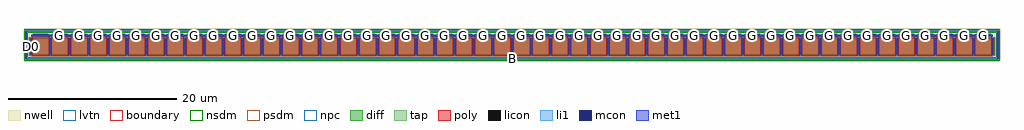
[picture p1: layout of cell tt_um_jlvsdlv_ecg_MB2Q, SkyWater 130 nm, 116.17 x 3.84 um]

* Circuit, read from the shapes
.subckt tt_um_jlvsdlv_ecg_MB2Q B D0 D10 D12 D14 D16 D18 D2 D20 D22 D24 D26 D28 D30 D32 D34 D36 D38 D4 D40 D42 D44 D46 D48 D6 D8 G S1 S11 S13 S15 S17 S19 S21 S23 S25 S27 S29 S3 S31 S33 S35 S37 S39 S41 S43 S45 S47 S49 S5 S7 S9
XM1 S1 G D0 B sky130_fd_pr__pfet_01v8_lvt w=2 l=2
XM2 D2 G S1 B sky130_fd_pr__pfet_01v8_lvt w=2 l=2
XM3 S3 G D2 B sky130_fd_pr__pfet_01v8_lvt w=2 l=2
XM4 D4 G S3 B sky130_fd_pr__pfet_01v8_lvt w=2 l=2
XM5 S5 G D4 B sky130_fd_pr__pfet_01v8_lvt w=2 l=2
XM6 D6 G S5 B sky130_fd_pr__pfet_01v8_lvt w=2 l=2
XM7 S7 G D6 B sky130_fd_pr__pfet_01v8_lvt w=2 l=2
XM8 D8 G S7 B sky130_fd_pr__pfet_01v8_lvt w=2 l=2
XM9 S9 G D8 B sky130_fd_pr__pfet_01v8_lvt w=2 l=2
XM10 D10 G S9 B sky130_fd_pr__pfet_01v8_lvt w=2 l=2
XM11 S11 G D10 B sky130_fd_pr__pfet_01v8_lvt w=2 l=2
XM12 D12 G S11 B sky130_fd_pr__pfet_01v8_lvt w=2 l=2
XM13 S13 G D12 B sky130_fd_pr__pfet_01v8_lvt w=2 l=2
XM14 D14 G S13 B sky130_fd_pr__pfet_01v8_lvt w=2 l=2
XM15 S15 G D14 B sky130_fd_pr__pfet_01v8_lvt w=2 l=2
XM16 D16 G S15 B sky130_fd_pr__pfet_01v8_lvt w=2 l=2
XM17 S17 G D16 B sky130_fd_pr__pfet_01v8_lvt w=2 l=2
XM18 D18 G S17 B sky130_fd_pr__pfet_01v8_lvt w=2 l=2
XM19 S19 G D18 B sky130_fd_pr__pfet_01v8_lvt w=2 l=2
XM20 D20 G S19 B sky130_fd_pr__pfet_01v8_lvt w=2 l=2
XM21 S21 G D20 B sky130_fd_pr__pfet_01v8_lvt w=2 l=2
XM22 D22 G S21 B sky130_fd_pr__pfet_01v8_lvt w=2 l=2
XM23 S23 G D22 B sky130_fd_pr__pfet_01v8_lvt w=2 l=2
XM24 D24 G S23 B sky130_fd_pr__pfet_01v8_lvt w=2 l=2
XM25 S25 G D24 B sky130_fd_pr__pfet_01v8_lvt w=2 l=2
XM26 D26 G S25 B sky130_fd_pr__pfet_01v8_lvt w=2 l=2
XM27 S27 G D26 B sky130_fd_pr__pfet_01v8_lvt w=2 l=2
XM28 D28 G S27 B sky130_fd_pr__pfet_01v8_lvt w=2 l=2
XM29 S29 G D28 B sky130_fd_pr__pfet_01v8_lvt w=2 l=2
XM30 D30 G S29 B sky130_fd_pr__pfet_01v8_lvt w=2 l=2
XM31 S31 G D30 B sky130_fd_pr__pfet_01v8_lvt w=2 l=2
XM32 D32 G S31 B sky130_fd_pr__pfet_01v8_lvt w=2 l=2
XM33 S33 G D32 B sky130_fd_pr__pfet_01v8_lvt w=2 l=2
XM34 D34 G S33 B sky130_fd_pr__pfet_01v8_lvt w=2 l=2
XM35 S35 G D34 B sky130_fd_pr__pfet_01v8_lvt w=2 l=2
XM36 D36 G S35 B sky130_fd_pr__pfet_01v8_lvt w=2 l=2
XM37 S37 G D36 B sky130_fd_pr__pfet_01v8_lvt w=2 l=2
XM38 D38 G S37 B sky130_fd_pr__pfet_01v8_lvt w=2 l=2
XM39 S39 G D38 B sky130_fd_pr__pfet_01v8_lvt w=2 l=2
XM40 D40 G S39 B sky130_fd_pr__pfet_01v8_lvt w=2 l=2
XM41 S41 G D40 B sky130_fd_pr__pfet_01v8_lvt w=2 l=2
XM42 D42 G S41 B sky130_fd_pr__pfet_01v8_lvt w=2 l=2
XM43 S43 G D42 B sky130_fd_pr__pfet_01v8_lvt w=2 l=2
XM44 D44 G S43 B sky130_fd_pr__pfet_01v8_lvt w=2 l=2
XM45 S45 G D44 B sky130_fd_pr__pfet_01v8_lvt w=2 l=2
XM46 D46 G S45 B sky130_fd_pr__pfet_01v8_lvt w=2 l=2
XM47 S47 G D46 B sky130_fd_pr__pfet_01v8_lvt w=2 l=2
XM48 D48 G S47 B sky130_fd_pr__pfet_01v8_lvt w=2 l=2
XM49 S49 G D48 B sky130_fd_pr__pfet_01v8_lvt w=2 l=2
XM50 n1 G S49 B sky130_fd_pr__pfet_01v8_lvt w=2 l=2
.ends

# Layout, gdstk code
import gdstk
lib = gdstk.Library(unit=1e-6, precision=1e-09)
def R(c, l, rs):  # rectangles x0, y0, x1, y1
    for r in rs: c.add(gdstk.rectangle(r[:2], r[2:], *l))
def A(c, l, x, y, w, h, nx, ny, dx, dy):  # array of equal rectangles
    R(c, l, [(x+i*dx, y+j*dy, x+i*dx+w, y+j*dy+h) for i in range(nx) for j in range(ny)])
nwell = (64, 20)
diff = (65, 20)
tap = (65, 44)
poly = (66, 20)
licon = (66, 44)
li1 = (67, 20)
mcon = (67, 44)
met1 = (68, 20)
nsdm = (93, 44)
psdm = (94, 20)
npc = (95, 20)
lvtn = (125, 44)
boundary = (235, 4)

tt_um_jlvsdlv_ecg_mb2q = lib.new_cell('tt_um_jlvsdlv_ecg_MB2Q')
R(tt_um_jlvsdlv_ecg_mb2q, nwell, [(-58.085,-1.92,58.085,1.92)])
R(tt_um_jlvsdlv_ecg_mb2q, diff, [(-57.395,-1.18,57.395,0.82)])
R(tt_um_jlvsdlv_ecg_mb2q, tap, [(-57.905,-1.74,57.905,-1.57), (-57.905,-1.57,-57.735,1.57), (57.735,-1.57,57.905,1.57), (-57.905,1.57,57.905,1.74)])
A(tt_um_jlvsdlv_ecg_mb2q, poly, -57.105, -1.31, 2, 2.615, 50, 1, 2.29, 0)
A(tt_um_jlvsdlv_ecg_mb2q, licon, -57.375, -1.74, 0.17, 0.17, 338, 2, 0.34, 3.31)
A(tt_um_jlvsdlv_ecg_mb2q, licon, -57.335, -1.115, 0.17, 0.17, 51, 6, 2.29, 0.34)
A(tt_um_jlvsdlv_ecg_mb2q, licon, -57.905, -1.105, 0.17, 0.17, 1, 7, 0, 0.34)
A(tt_um_jlvsdlv_ecg_mb2q, licon, 57.735, -1.105, 0.17, 0.17, 1, 7, 0, 0.34)
A(tt_um_jlvsdlv_ecg_mb2q, licon, -56.87, 1.055, 0.17, 0.17, 5, 1, 0.34, 0)
A(tt_um_jlvsdlv_ecg_mb2q, licon, -54.58, 1.055, 0.17, 0.17, 5, 1, 0.34, 0)
A(tt_um_jlvsdlv_ecg_mb2q, licon, -52.29, 1.055, 0.17, 0.17, 5, 1, 0.34, 0)
A(tt_um_jlvsdlv_ecg_mb2q, licon, -50, 1.055, 0.17, 0.17, 5, 1, 0.34, 0)
A(tt_um_jlvsdlv_ecg_mb2q, licon, -47.71, 1.055, 0.17, 0.17, 5, 1, 0.34, 0)
A(tt_um_jlvsdlv_ecg_mb2q, licon, -45.42, 1.055, 0.17, 0.17, 5, 1, 0.34, 0)
A(tt_um_jlvsdlv_ecg_mb2q, licon, -43.13, 1.055, 0.17, 0.17, 5, 1, 0.34, 0)
A(tt_um_jlvsdlv_ecg_mb2q, licon, -40.84, 1.055, 0.17, 0.17, 5, 1, 0.34, 0)
A(tt_um_jlvsdlv_ecg_mb2q, licon, -38.55, 1.055, 0.17, 0.17, 5, 1, 0.34, 0)
A(tt_um_jlvsdlv_ecg_mb2q, licon, -36.26, 1.055, 0.17, 0.17, 5, 1, 0.34, 0)
A(tt_um_jlvsdlv_ecg_mb2q, licon, -33.97, 1.055, 0.17, 0.17, 5, 1, 0.34, 0)
A(tt_um_jlvsdlv_ecg_mb2q, licon, -31.68, 1.055, 0.17, 0.17, 5, 1, 0.34, 0)
A(tt_um_jlvsdlv_ecg_mb2q, licon, -29.39, 1.055, 0.17, 0.17, 5, 1, 0.34, 0)
A(tt_um_jlvsdlv_ecg_mb2q, licon, -27.1, 1.055, 0.17, 0.17, 5, 1, 0.34, 0)
A(tt_um_jlvsdlv_ecg_mb2q, licon, -24.81, 1.055, 0.17, 0.17, 5, 1, 0.34, 0)
A(tt_um_jlvsdlv_ecg_mb2q, licon, -22.52, 1.055, 0.17, 0.17, 5, 1, 0.34, 0)
A(tt_um_jlvsdlv_ecg_mb2q, licon, -20.23, 1.055, 0.17, 0.17, 5, 1, 0.34, 0)
A(tt_um_jlvsdlv_ecg_mb2q, licon, -17.94, 1.055, 0.17, 0.17, 5, 1, 0.34, 0)
A(tt_um_jlvsdlv_ecg_mb2q, licon, -15.65, 1.055, 0.17, 0.17, 5, 1, 0.34, 0)
A(tt_um_jlvsdlv_ecg_mb2q, licon, -13.36, 1.055, 0.17, 0.17, 5, 1, 0.34, 0)
A(tt_um_jlvsdlv_ecg_mb2q, licon, -11.07, 1.055, 0.17, 0.17, 5, 1, 0.34, 0)
A(tt_um_jlvsdlv_ecg_mb2q, licon, -8.78, 1.055, 0.17, 0.17, 5, 1, 0.34, 0)
A(tt_um_jlvsdlv_ecg_mb2q, licon, -6.49, 1.055, 0.17, 0.17, 5, 1, 0.34, 0)
A(tt_um_jlvsdlv_ecg_mb2q, licon, -4.2, 1.055, 0.17, 0.17, 5, 1, 0.34, 0)
A(tt_um_jlvsdlv_ecg_mb2q, licon, -1.91, 1.055, 0.17, 0.17, 5, 1, 0.34, 0)
A(tt_um_jlvsdlv_ecg_mb2q, licon, 0.38, 1.055, 0.17, 0.17, 5, 1, 0.34, 0)
A(tt_um_jlvsdlv_ecg_mb2q, licon, 2.67, 1.055, 0.17, 0.17, 5, 1, 0.34, 0)
A(tt_um_jlvsdlv_ecg_mb2q, licon, 4.96, 1.055, 0.17, 0.17, 5, 1, 0.34, 0)
A(tt_um_jlvsdlv_ecg_mb2q, licon, 7.25, 1.055, 0.17, 0.17, 5, 1, 0.34, 0)
A(tt_um_jlvsdlv_ecg_mb2q, licon, 9.54, 1.055, 0.17, 0.17, 5, 1, 0.34, 0)
A(tt_um_jlvsdlv_ecg_mb2q, licon, 11.83, 1.055, 0.17, 0.17, 5, 1, 0.34, 0)
A(tt_um_jlvsdlv_ecg_mb2q, licon, 14.12, 1.055, 0.17, 0.17, 5, 1, 0.34, 0)
A(tt_um_jlvsdlv_ecg_mb2q, licon, 16.41, 1.055, 0.17, 0.17, 5, 1, 0.34, 0)
A(tt_um_jlvsdlv_ecg_mb2q, licon, 18.7, 1.055, 0.17, 0.17, 5, 1, 0.34, 0)
A(tt_um_jlvsdlv_ecg_mb2q, licon, 20.99, 1.055, 0.17, 0.17, 5, 1, 0.34, 0)
A(tt_um_jlvsdlv_ecg_mb2q, licon, 23.28, 1.055, 0.17, 0.17, 5, 1, 0.34, 0)
A(tt_um_jlvsdlv_ecg_mb2q, licon, 25.57, 1.055, 0.17, 0.17, 5, 1, 0.34, 0)
A(tt_um_jlvsdlv_ecg_mb2q, licon, 27.86, 1.055, 0.17, 0.17, 5, 1, 0.34, 0)
A(tt_um_jlvsdlv_ecg_mb2q, licon, 30.15, 1.055, 0.17, 0.17, 5, 1, 0.34, 0)
A(tt_um_jlvsdlv_ecg_mb2q, licon, 32.44, 1.055, 0.17, 0.17, 5, 1, 0.34, 0)
A(tt_um_jlvsdlv_ecg_mb2q, licon, 34.73, 1.055, 0.17, 0.17, 5, 1, 0.34, 0)
A(tt_um_jlvsdlv_ecg_mb2q, licon, 37.02, 1.055, 0.17, 0.17, 5, 1, 0.34, 0)
A(tt_um_jlvsdlv_ecg_mb2q, licon, 39.31, 1.055, 0.17, 0.17, 5, 1, 0.34, 0)
A(tt_um_jlvsdlv_ecg_mb2q, licon, 41.6, 1.055, 0.17, 0.17, 5, 1, 0.34, 0)
A(tt_um_jlvsdlv_ecg_mb2q, licon, 43.89, 1.055, 0.17, 0.17, 5, 1, 0.34, 0)
A(tt_um_jlvsdlv_ecg_mb2q, licon, 46.18, 1.055, 0.17, 0.17, 5, 1, 0.34, 0)
A(tt_um_jlvsdlv_ecg_mb2q, licon, 48.47, 1.055, 0.17, 0.17, 5, 1, 0.34, 0)
A(tt_um_jlvsdlv_ecg_mb2q, licon, 50.76, 1.055, 0.17, 0.17, 5, 1, 0.34, 0)
A(tt_um_jlvsdlv_ecg_mb2q, licon, 53.05, 1.055, 0.17, 0.17, 5, 1, 0.34, 0)
A(tt_um_jlvsdlv_ecg_mb2q, licon, 55.34, 1.055, 0.17, 0.17, 5, 1, 0.34, 0)
A(tt_um_jlvsdlv_ecg_mb2q, li1, -57.335, -1.2, 0.17, 2.04, 51, 1, 2.29, 0)
R(tt_um_jlvsdlv_ecg_mb2q, li1, [(-57.905,-1.74,57.905,-1.57), (-57.905,-1.57,-57.735,1.57), (57.735,-1.57,57.905,1.57), (-57.25,1.055,57.25,1.225), (-57.905,1.57,57.905,1.74)])
A(tt_um_jlvsdlv_ecg_mb2q, mcon, -57.905, -1.525, 0.17, 0.17, 1, 9, 0, 0.36)
A(tt_um_jlvsdlv_ecg_mb2q, mcon, 57.735, -1.525, 0.17, 0.17, 1, 9, 0, 0.36)
A(tt_um_jlvsdlv_ecg_mb2q, mcon, -57.335, -0.985, 0.17, 0.17, 51, 5, 2.29, 0.36)
A(tt_um_jlvsdlv_ecg_mb2q, mcon, -56.91, 1.055, 0.17, 0.17, 5, 1, 0.36, 0)
A(tt_um_jlvsdlv_ecg_mb2q, mcon, -54.62, 1.055, 0.17, 0.17, 5, 1, 0.36, 0)
A(tt_um_jlvsdlv_ecg_mb2q, mcon, -52.33, 1.055, 0.17, 0.17, 5, 1, 0.36, 0)
A(tt_um_jlvsdlv_ecg_mb2q, mcon, -50.04, 1.055, 0.17, 0.17, 5, 1, 0.36, 0)
A(tt_um_jlvsdlv_ecg_mb2q, mcon, -47.75, 1.055, 0.17, 0.17, 5, 1, 0.36, 0)
A(tt_um_jlvsdlv_ecg_mb2q, mcon, -45.46, 1.055, 0.17, 0.17, 5, 1, 0.36, 0)
A(tt_um_jlvsdlv_ecg_mb2q, mcon, -43.17, 1.055, 0.17, 0.17, 5, 1, 0.36, 0)
A(tt_um_jlvsdlv_ecg_mb2q, mcon, -40.88, 1.055, 0.17, 0.17, 5, 1, 0.36, 0)
A(tt_um_jlvsdlv_ecg_mb2q, mcon, -38.59, 1.055, 0.17, 0.17, 5, 1, 0.36, 0)
A(tt_um_jlvsdlv_ecg_mb2q, mcon, -36.3, 1.055, 0.17, 0.17, 5, 1, 0.36, 0)
A(tt_um_jlvsdlv_ecg_mb2q, mcon, -34.01, 1.055, 0.17, 0.17, 5, 1, 0.36, 0)
A(tt_um_jlvsdlv_ecg_mb2q, mcon, -31.72, 1.055, 0.17, 0.17, 5, 1, 0.36, 0)
A(tt_um_jlvsdlv_ecg_mb2q, mcon, -29.43, 1.055, 0.17, 0.17, 5, 1, 0.36, 0)
A(tt_um_jlvsdlv_ecg_mb2q, mcon, -27.14, 1.055, 0.17, 0.17, 5, 1, 0.36, 0)
A(tt_um_jlvsdlv_ecg_mb2q, mcon, -24.85, 1.055, 0.17, 0.17, 5, 1, 0.36, 0)
A(tt_um_jlvsdlv_ecg_mb2q, mcon, -22.56, 1.055, 0.17, 0.17, 5, 1, 0.36, 0)
A(tt_um_jlvsdlv_ecg_mb2q, mcon, -20.27, 1.055, 0.17, 0.17, 5, 1, 0.36, 0)
A(tt_um_jlvsdlv_ecg_mb2q, mcon, -17.98, 1.055, 0.17, 0.17, 5, 1, 0.36, 0)
A(tt_um_jlvsdlv_ecg_mb2q, mcon, -15.69, 1.055, 0.17, 0.17, 5, 1, 0.36, 0)
A(tt_um_jlvsdlv_ecg_mb2q, mcon, -13.4, 1.055, 0.17, 0.17, 5, 1, 0.36, 0)
A(tt_um_jlvsdlv_ecg_mb2q, mcon, -11.11, 1.055, 0.17, 0.17, 5, 1, 0.36, 0)
A(tt_um_jlvsdlv_ecg_mb2q, mcon, -8.82, 1.055, 0.17, 0.17, 5, 1, 0.36, 0)
A(tt_um_jlvsdlv_ecg_mb2q, mcon, -6.53, 1.055, 0.17, 0.17, 5, 1, 0.36, 0)
A(tt_um_jlvsdlv_ecg_mb2q, mcon, -4.24, 1.055, 0.17, 0.17, 5, 1, 0.36, 0)
A(tt_um_jlvsdlv_ecg_mb2q, mcon, -1.95, 1.055, 0.17, 0.17, 5, 1, 0.36, 0)
A(tt_um_jlvsdlv_ecg_mb2q, mcon, 0.34, 1.055, 0.17, 0.17, 5, 1, 0.36, 0)
A(tt_um_jlvsdlv_ecg_mb2q, mcon, 2.63, 1.055, 0.17, 0.17, 5, 1, 0.36, 0)
A(tt_um_jlvsdlv_ecg_mb2q, mcon, 4.92, 1.055, 0.17, 0.17, 5, 1, 0.36, 0)
A(tt_um_jlvsdlv_ecg_mb2q, mcon, 7.21, 1.055, 0.17, 0.17, 5, 1, 0.36, 0)
A(tt_um_jlvsdlv_ecg_mb2q, mcon, 9.5, 1.055, 0.17, 0.17, 5, 1, 0.36, 0)
A(tt_um_jlvsdlv_ecg_mb2q, mcon, 11.79, 1.055, 0.17, 0.17, 5, 1, 0.36, 0)
A(tt_um_jlvsdlv_ecg_mb2q, mcon, 14.08, 1.055, 0.17, 0.17, 5, 1, 0.36, 0)
A(tt_um_jlvsdlv_ecg_mb2q, mcon, 16.37, 1.055, 0.17, 0.17, 5, 1, 0.36, 0)
A(tt_um_jlvsdlv_ecg_mb2q, mcon, 18.66, 1.055, 0.17, 0.17, 5, 1, 0.36, 0)
A(tt_um_jlvsdlv_ecg_mb2q, mcon, 20.95, 1.055, 0.17, 0.17, 5, 1, 0.36, 0)
A(tt_um_jlvsdlv_ecg_mb2q, mcon, 23.24, 1.055, 0.17, 0.17, 5, 1, 0.36, 0)
A(tt_um_jlvsdlv_ecg_mb2q, mcon, 25.53, 1.055, 0.17, 0.17, 5, 1, 0.36, 0)
A(tt_um_jlvsdlv_ecg_mb2q, mcon, 27.82, 1.055, 0.17, 0.17, 5, 1, 0.36, 0)
A(tt_um_jlvsdlv_ecg_mb2q, mcon, 30.11, 1.055, 0.17, 0.17, 5, 1, 0.36, 0)
A(tt_um_jlvsdlv_ecg_mb2q, mcon, 32.4, 1.055, 0.17, 0.17, 5, 1, 0.36, 0)
A(tt_um_jlvsdlv_ecg_mb2q, mcon, 34.69, 1.055, 0.17, 0.17, 5, 1, 0.36, 0)
A(tt_um_jlvsdlv_ecg_mb2q, mcon, 36.98, 1.055, 0.17, 0.17, 5, 1, 0.36, 0)
A(tt_um_jlvsdlv_ecg_mb2q, mcon, 39.27, 1.055, 0.17, 0.17, 5, 1, 0.36, 0)
A(tt_um_jlvsdlv_ecg_mb2q, mcon, 41.56, 1.055, 0.17, 0.17, 5, 1, 0.36, 0)
A(tt_um_jlvsdlv_ecg_mb2q, mcon, 43.85, 1.055, 0.17, 0.17, 5, 1, 0.36, 0)
A(tt_um_jlvsdlv_ecg_mb2q, mcon, 46.14, 1.055, 0.17, 0.17, 5, 1, 0.36, 0)
A(tt_um_jlvsdlv_ecg_mb2q, mcon, 48.43, 1.055, 0.17, 0.17, 5, 1, 0.36, 0)
A(tt_um_jlvsdlv_ecg_mb2q, mcon, 50.72, 1.055, 0.17, 0.17, 5, 1, 0.36, 0)
A(tt_um_jlvsdlv_ecg_mb2q, mcon, 53.01, 1.055, 0.17, 0.17, 5, 1, 0.36, 0)
A(tt_um_jlvsdlv_ecg_mb2q, mcon, 55.3, 1.055, 0.17, 0.17, 5, 1, 0.36, 0)
A(tt_um_jlvsdlv_ecg_mb2q, met1, -57.365, -1.18, 0.23, 2, 51, 1, 2.29, 0)
A(tt_um_jlvsdlv_ecg_mb2q, met1, -57.085, 1.025, 1.96, 0.03, 50, 2, 2.29, 0.2)
R(tt_um_jlvsdlv_ecg_mb2q, met1, [(-57.935,-1.63,-57.705,1.63), (57.705,-1.63,57.935,1.63), (-57.25,1.055,57.25,1.225)])
R(tt_um_jlvsdlv_ecg_mb2q, nsdm, [(-58.03,-1.865,58.03,-1.445), (-58.03,-1.445,-57.61,1.445), (57.61,-1.445,58.03,1.445), (-58.03,1.445,58.03,1.865)])
R(tt_um_jlvsdlv_ecg_mb2q, psdm, [(-57.52,-1.305,57.52,0.945)])
A(tt_um_jlvsdlv_ecg_mb2q, npc, -56.97, 0.955, 1.73, 0.37, 50, 1, 2.29, 0)
R(tt_um_jlvsdlv_ecg_mb2q, lvtn, [(-57.285,-1.36,57.285,1)])
R(tt_um_jlvsdlv_ecg_mb2q, boundary, [(-57.82,-1.655,57.82,1.655)])
tt_um_jlvsdlv_ecg_mb2q.add(gdstk.Label('B', (0,-1.655), layer=67, texttype=5))
tt_um_jlvsdlv_ecg_mb2q.add(gdstk.Label('D0', (-57.25,-0.18), layer=67, texttype=5))
tt_um_jlvsdlv_ecg_mb2q.add(gdstk.Label('G', (56.105,1.14), layer=67, texttype=5))
tt_um_jlvsdlv_ecg_mb2q.add(gdstk.Label('G', (53.815,1.14), layer=67, texttype=5))
tt_um_jlvsdlv_ecg_mb2q.add(gdstk.Label('G', (51.525,1.14), layer=67, texttype=5))
tt_um_jlvsdlv_ecg_mb2q.add(gdstk.Label('G', (49.235,1.14), layer=67, texttype=5))
tt_um_jlvsdlv_ecg_mb2q.add(gdstk.Label('G', (46.945,1.14), layer=67, texttype=5))
tt_um_jlvsdlv_ecg_mb2q.add(gdstk.Label('G', (44.655,1.14), layer=67, texttype=5))
tt_um_jlvsdlv_ecg_mb2q.add(gdstk.Label('G', (42.365,1.14), layer=67, texttype=5))
tt_um_jlvsdlv_ecg_mb2q.add(gdstk.Label('G', (40.075,1.14), layer=67, texttype=5))
tt_um_jlvsdlv_ecg_mb2q.add(gdstk.Label('G', (37.785,1.14), layer=67, texttype=5))
tt_um_jlvsdlv_ecg_mb2q.add(gdstk.Label('G', (35.495,1.14), layer=67, texttype=5))
tt_um_jlvsdlv_ecg_mb2q.add(gdstk.Label('G', (33.205,1.14), layer=67, texttype=5))
tt_um_jlvsdlv_ecg_mb2q.add(gdstk.Label('G', (30.915,1.14), layer=67, texttype=5))
tt_um_jlvsdlv_ecg_mb2q.add(gdstk.Label('G', (28.625,1.14), layer=67, texttype=5))
tt_um_jlvsdlv_ecg_mb2q.add(gdstk.Label('G', (26.335,1.14), layer=67, texttype=5))
tt_um_jlvsdlv_ecg_mb2q.add(gdstk.Label('G', (24.045,1.14), layer=67, texttype=5))
tt_um_jlvsdlv_ecg_mb2q.add(gdstk.Label('G', (21.755,1.14), layer=67, texttype=5))
tt_um_jlvsdlv_ecg_mb2q.add(gdstk.Label('G', (19.465,1.14), layer=67, texttype=5))
tt_um_jlvsdlv_ecg_mb2q.add(gdstk.Label('G', (17.175,1.14), layer=67, texttype=5))
tt_um_jlvsdlv_ecg_mb2q.add(gdstk.Label('G', (14.885,1.14), layer=67, texttype=5))
tt_um_jlvsdlv_ecg_mb2q.add(gdstk.Label('G', (12.595,1.14), layer=67, texttype=5))
tt_um_jlvsdlv_ecg_mb2q.add(gdstk.Label('G', (10.305,1.14), layer=67, texttype=5))
tt_um_jlvsdlv_ecg_mb2q.add(gdstk.Label('G', (8.015,1.14), layer=67, texttype=5))
tt_um_jlvsdlv_ecg_mb2q.add(gdstk.Label('G', (5.725,1.14), layer=67, texttype=5))
tt_um_jlvsdlv_ecg_mb2q.add(gdstk.Label('G', (3.435,1.14), layer=67, texttype=5))
tt_um_jlvsdlv_ecg_mb2q.add(gdstk.Label('G', (1.145,1.14), layer=67, texttype=5))
tt_um_jlvsdlv_ecg_mb2q.add(gdstk.Label('G', (-1.145,1.14), layer=67, texttype=5))
tt_um_jlvsdlv_ecg_mb2q.add(gdstk.Label('G', (-3.435,1.14), layer=67, texttype=5))
tt_um_jlvsdlv_ecg_mb2q.add(gdstk.Label('G', (-5.725,1.14), layer=67, texttype=5))
tt_um_jlvsdlv_ecg_mb2q.add(gdstk.Label('G', (-8.015,1.14), layer=67, texttype=5))
tt_um_jlvsdlv_ecg_mb2q.add(gdstk.Label('G', (-10.305,1.14), layer=67, texttype=5))
tt_um_jlvsdlv_ecg_mb2q.add(gdstk.Label('G', (-12.595,1.14), layer=67, texttype=5))
tt_um_jlvsdlv_ecg_mb2q.add(gdstk.Label('G', (-14.885,1.14), layer=67, texttype=5))
tt_um_jlvsdlv_ecg_mb2q.add(gdstk.Label('G', (-17.175,1.14), layer=67, texttype=5))
tt_um_jlvsdlv_ecg_mb2q.add(gdstk.Label('G', (-19.465,1.14), layer=67, texttype=5))
tt_um_jlvsdlv_ecg_mb2q.add(gdstk.Label('G', (-21.755,1.14), layer=67, texttype=5))
tt_um_jlvsdlv_ecg_mb2q.add(gdstk.Label('G', (-24.045,1.14), layer=67, texttype=5))
tt_um_jlvsdlv_ecg_mb2q.add(gdstk.Label('G', (-26.335,1.14), layer=67, texttype=5))
tt_um_jlvsdlv_ecg_mb2q.add(gdstk.Label('G', (-28.625,1.14), layer=67, texttype=5))
tt_um_jlvsdlv_ecg_mb2q.add(gdstk.Label('G', (-30.915,1.14), layer=67, texttype=5))
tt_um_jlvsdlv_ecg_mb2q.add(gdstk.Label('G', (-33.205,1.14), layer=67, texttype=5))
tt_um_jlvsdlv_ecg_mb2q.add(gdstk.Label('G', (-35.495,1.14), layer=67, texttype=5))
tt_um_jlvsdlv_ecg_mb2q.add(gdstk.Label('G', (-37.785,1.14), layer=67, texttype=5))
tt_um_jlvsdlv_ecg_mb2q.add(gdstk.Label('G', (-40.075,1.14), layer=67, texttype=5))
tt_um_jlvsdlv_ecg_mb2q.add(gdstk.Label('G', (-42.365,1.14), layer=67, texttype=5))
tt_um_jlvsdlv_ecg_mb2q.add(gdstk.Label('G', (-44.655,1.14), layer=67, texttype=5))
tt_um_jlvsdlv_ecg_mb2q.add(gdstk.Label('G', (-46.945,1.14), layer=67, texttype=5))
tt_um_jlvsdlv_ecg_mb2q.add(gdstk.Label('G', (-49.235,1.14), layer=67, texttype=5))
tt_um_jlvsdlv_ecg_mb2q.add(gdstk.Label('G', (-51.525,1.14), layer=67, texttype=5))
tt_um_jlvsdlv_ecg_mb2q.add(gdstk.Label('G', (-53.815,1.14), layer=67, texttype=5))
tt_um_jlvsdlv_ecg_mb2q.add(gdstk.Label('G', (-56.105,1.14), layer=67, texttype=5))
tt_um_jlvsdlv_ecg_mb2q.add(gdstk.Label('S1', (-54.96,-0.18), layer=67, texttype=5))
tt_um_jlvsdlv_ecg_mb2q.add(gdstk.Label('D2', (-52.67,-0.18), layer=67, texttype=5))
tt_um_jlvsdlv_ecg_mb2q.add(gdstk.Label('S3', (-50.38,-0.18), layer=67, texttype=5))
tt_um_jlvsdlv_ecg_mb2q.add(gdstk.Label('D4', (-48.09,-0.18), layer=67, texttype=5))
tt_um_jlvsdlv_ecg_mb2q.add(gdstk.Label('S5', (-45.8,-0.18), layer=67, texttype=5))
tt_um_jlvsdlv_ecg_mb2q.add(gdstk.Label('D6', (-43.51,-0.18), layer=67, texttype=5))
tt_um_jlvsdlv_ecg_mb2q.add(gdstk.Label('S7', (-41.22,-0.18), layer=67, texttype=5))
tt_um_jlvsdlv_ecg_mb2q.add(gdstk.Label('D8', (-38.93,-0.18), layer=67, texttype=5))
tt_um_jlvsdlv_ecg_mb2q.add(gdstk.Label('S9', (-36.64,-0.18), layer=67, texttype=5))
tt_um_jlvsdlv_ecg_mb2q.add(gdstk.Label('D10', (-34.35,-0.18), layer=67, texttype=5))
tt_um_jlvsdlv_ecg_mb2q.add(gdstk.Label('S11', (-32.06,-0.18), layer=67, texttype=5))
tt_um_jlvsdlv_ecg_mb2q.add(gdstk.Label('D12', (-29.77,-0.18), layer=67, texttype=5))
tt_um_jlvsdlv_ecg_mb2q.add(gdstk.Label('S13', (-27.48,-0.18), layer=67, texttype=5))
tt_um_jlvsdlv_ecg_mb2q.add(gdstk.Label('D14', (-25.19,-0.18), layer=67, texttype=5))
tt_um_jlvsdlv_ecg_mb2q.add(gdstk.Label('S15', (-22.9,-0.18), layer=67, texttype=5))
tt_um_jlvsdlv_ecg_mb2q.add(gdstk.Label('D16', (-20.61,-0.18), layer=67, texttype=5))
tt_um_jlvsdlv_ecg_mb2q.add(gdstk.Label('S17', (-18.32,-0.18), layer=67, texttype=5))
tt_um_jlvsdlv_ecg_mb2q.add(gdstk.Label('D18', (-16.03,-0.18), layer=67, texttype=5))
tt_um_jlvsdlv_ecg_mb2q.add(gdstk.Label('S19', (-13.74,-0.18), layer=67, texttype=5))
tt_um_jlvsdlv_ecg_mb2q.add(gdstk.Label('D20', (-11.45,-0.18), layer=67, texttype=5))
tt_um_jlvsdlv_ecg_mb2q.add(gdstk.Label('S21', (-9.16,-0.18), layer=67, texttype=5))
tt_um_jlvsdlv_ecg_mb2q.add(gdstk.Label('D22', (-6.87,-0.18), layer=67, texttype=5))
tt_um_jlvsdlv_ecg_mb2q.add(gdstk.Label('S23', (-4.58,-0.18), layer=67, texttype=5))
tt_um_jlvsdlv_ecg_mb2q.add(gdstk.Label('D24', (-2.29,-0.18), layer=67, texttype=5))
tt_um_jlvsdlv_ecg_mb2q.add(gdstk.Label('S25', (0,-0.18), layer=67, texttype=5))
tt_um_jlvsdlv_ecg_mb2q.add(gdstk.Label('D26', (2.29,-0.18), layer=67, texttype=5))
tt_um_jlvsdlv_ecg_mb2q.add(gdstk.Label('S27', (4.58,-0.18), layer=67, texttype=5))
tt_um_jlvsdlv_ecg_mb2q.add(gdstk.Label('D28', (6.87,-0.18), layer=67, texttype=5))
tt_um_jlvsdlv_ecg_mb2q.add(gdstk.Label('S29', (9.16,-0.18), layer=67, texttype=5))
tt_um_jlvsdlv_ecg_mb2q.add(gdstk.Label('D30', (11.45,-0.18), layer=67, texttype=5))
tt_um_jlvsdlv_ecg_mb2q.add(gdstk.Label('S31', (13.74,-0.18), layer=67, texttype=5))
tt_um_jlvsdlv_ecg_mb2q.add(gdstk.Label('D32', (16.03,-0.18), layer=67, texttype=5))
tt_um_jlvsdlv_ecg_mb2q.add(gdstk.Label('S33', (18.32,-0.18), layer=67, texttype=5))
tt_um_jlvsdlv_ecg_mb2q.add(gdstk.Label('D34', (20.61,-0.18), layer=67, texttype=5))
tt_um_jlvsdlv_ecg_mb2q.add(gdstk.Label('S35', (22.9,-0.18), layer=67, texttype=5))
tt_um_jlvsdlv_ecg_mb2q.add(gdstk.Label('D36', (25.19,-0.18), layer=67, texttype=5))
tt_um_jlvsdlv_ecg_mb2q.add(gdstk.Label('S37', (27.48,-0.18), layer=67, texttype=5))
tt_um_jlvsdlv_ecg_mb2q.add(gdstk.Label('D38', (29.77,-0.18), layer=67, texttype=5))
tt_um_jlvsdlv_ecg_mb2q.add(gdstk.Label('S39', (32.06,-0.18), layer=67, texttype=5))
tt_um_jlvsdlv_ecg_mb2q.add(gdstk.Label('D40', (34.35,-0.18), layer=67, texttype=5))
tt_um_jlvsdlv_ecg_mb2q.add(gdstk.Label('S41', (36.64,-0.18), layer=67, texttype=5))
tt_um_jlvsdlv_ecg_mb2q.add(gdstk.Label('D42', (38.93,-0.18), layer=67, texttype=5))
tt_um_jlvsdlv_ecg_mb2q.add(gdstk.Label('S43', (41.22,-0.18), layer=67, texttype=5))
tt_um_jlvsdlv_ecg_mb2q.add(gdstk.Label('D44', (43.51,-0.18), layer=67, texttype=5))
tt_um_jlvsdlv_ecg_mb2q.add(gdstk.Label('S45', (45.8,-0.18), layer=67, texttype=5))
tt_um_jlvsdlv_ecg_mb2q.add(gdstk.Label('D46', (48.09,-0.18), layer=67, texttype=5))
tt_um_jlvsdlv_ecg_mb2q.add(gdstk.Label('S47', (50.38,-0.18), layer=67, texttype=5))
tt_um_jlvsdlv_ecg_mb2q.add(gdstk.Label('D48', (52.67,-0.18), layer=67, texttype=5))
tt_um_jlvsdlv_ecg_mb2q.add(gdstk.Label('S49', (54.96,-0.18), layer=67, texttype=5))

lib.write_gds('tt_um_jlvsdlv_ecg_MB2Q.gds')
